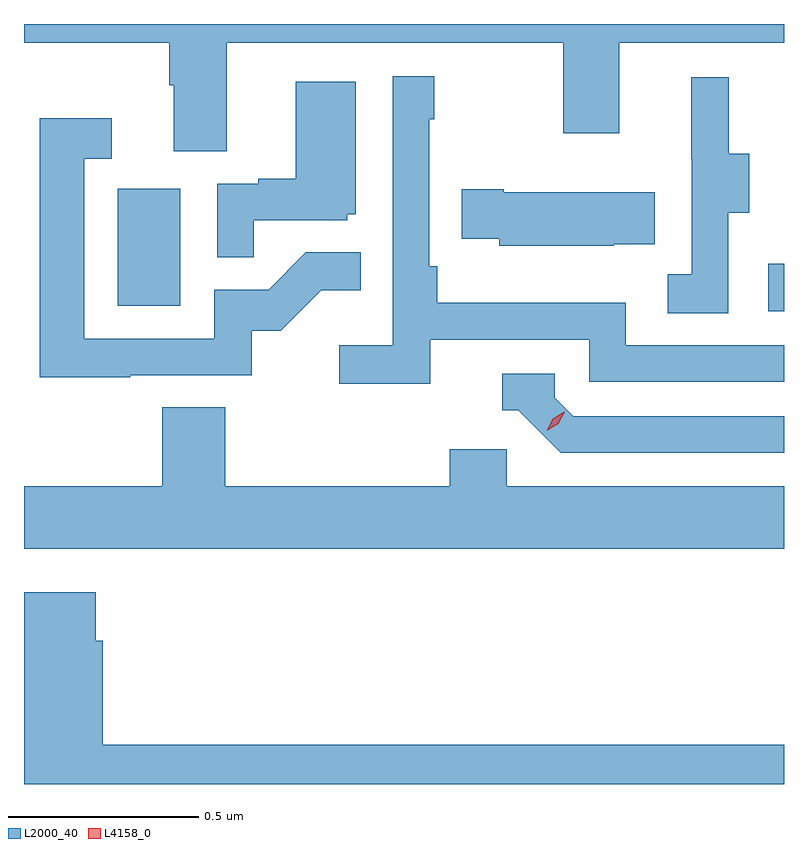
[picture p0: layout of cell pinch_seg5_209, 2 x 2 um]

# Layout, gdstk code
import gdstk
lib = gdstk.Library(unit=1e-6, precision=1e-09)
def R(c, l, rs):  # rectangles x0, y0, x1, y1
    for r in rs: c.add(gdstk.rectangle(r[:2], r[2:], *l))
def P(c, l, *ps):  # polygons
    for p in ps: c.add(gdstk.Polygon(p, *l))
L2000_40 = (2000, 40)
L4158_0 = (4158, 0)

pinch_seg5_209 = lib.new_cell('pinch_seg5_209')
R(pinch_seg5_209, L2000_40, [(1014.849,898.677,1014.891,898.802), (1013.138,898.692,1013.302,898.999)])
P(pinch_seg5_209, L2000_40, [(1013.425,899.384),(1014.31,899.384),(1014.31,899.145),(1014.457,899.145),(1014.457,899.384),(1014.891,899.384),(1014.891,899.433),(1012.891,899.433),(1012.891,899.384),(1013.273,899.384),(1013.273,899.272),(1013.285,899.272),(1013.285,899.098),(1013.425,899.098)],
  [(1013.96,898.602),(1014.378,898.602),(1014.378,898.491),(1014.891,898.491),(1014.891,898.587),(1014.474,898.587),(1014.474,898.699),(1013.978,898.699),(1013.978,898.795),(1013.958,898.795),(1013.958,899.183),(1013.971,899.183),(1013.971,899.296),(1013.862,899.296),(1013.862,898.588),(1013.721,898.588),(1013.721,898.486),(1013.96,898.486)],
  [(1014.744,898.936),(1014.799,898.936),(1014.799,899.091),(1014.745,899.091),(1014.745,899.293),(1014.647,899.293),(1014.647,899.079),(1014.648,899.079),(1014.648,898.775),(1014.585,898.775),(1014.585,898.672),(1014.744,898.672)],
  [(1013.495,898.917),(1013.742,898.917),(1013.742,898.932),(1013.764,898.932),(1013.764,899.281),(1013.606,899.281),(1013.606,899.026),(1013.507,899.026),(1013.507,899.013),(1013.4,899.013),(1013.4,898.819),(1013.495,898.819)],
  [(1013.171,898.509),(1013.49,898.509),(1013.49,898.626),(1013.566,898.626),(1013.673,898.733),(1013.777,898.733),(1013.777,898.832),(1013.633,898.832),(1013.535,898.734),(1013.391,898.734),(1013.391,898.605),(1013.049,898.605),(1013.049,899.079),(1013.122,899.079),(1013.122,899.185),(1012.933,899.185),(1012.933,898.504),(1013.171,898.504)],
  [(1014.443,898.853),(1014.551,898.853),(1014.551,898.99),(1014.154,898.99),(1014.154,898.998),(1014.043,898.998),(1014.043,898.868),(1014.141,898.868),(1014.141,898.85),(1014.443,898.85)],
  [(1014.891,898.401),(1014.336,898.401),(1014.288,898.449),(1014.288,898.512),(1014.149,898.512),(1014.149,898.416),(1014.192,898.416),(1014.303,898.305),(1014.891,898.305)],
  [(1014.891,898.216),(1014.162,898.216),(1014.162,898.314),(1014.011,898.314),(1014.011,898.216),(1013.42,898.216),(1013.42,898.424),(1013.255,898.424),(1013.255,898.216),(1012.891,898.216),(1012.891,898.052),(1014.891,898.052)],
  [(1014.891,897.536),(1013.098,897.536),(1013.098,897.81),(1013.08,897.81),(1013.08,897.937),(1012.891,897.937),(1012.891,897.433),(1014.891,897.433)])
P(pinch_seg5_209, L4158_0, [(1014.266,898.362),(1014.266,898.362),(1014.282,898.394),(1014.313,898.413),(1014.314,898.413),(1014.314,898.413),(1014.297,898.381),(1014.266,898.362)])

lib.write_gds('pinch_seg5_209.gds')
